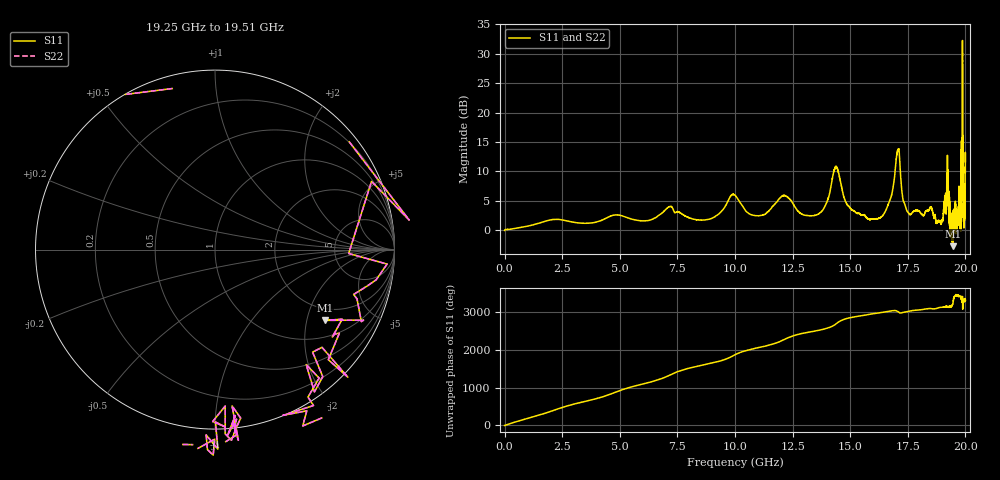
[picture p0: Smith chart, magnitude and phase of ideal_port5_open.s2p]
! Created with skrf (http://scikit-rf.org).
# GHz S RI R 50.0
!freq ReS11 ImS11 ReS21 ImS21 ReS12 ImS12 ReS22 ImS22
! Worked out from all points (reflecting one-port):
!   10001 points, 1 MHz to 20 GHz, reference 50 ohm
!   lowest |S11| = -2.7 dB at 19.45 GHz (marker M1), VSWR 6.39, Z = 76.8 - j129 ohm
!   phase of S11 starts at 1 deg and turns +3329 deg over the sweep
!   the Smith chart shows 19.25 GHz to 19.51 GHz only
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0.001  0.9927 0.0132  0 0  0 0  0.9927 0.0132
1.524924  0.1926 -1.133  0 0  0 0  0.1926 -1.133
2.382881  -0.091 1.226  0 0  0 0  -0.091 1.226
3.334833  -0.2813 -1.11  0 0  0 0  -0.2813 -1.11
6.668667  -0.8625 1.01  0 0  0 0  -0.8625 1.01
7.19864  -0.216 -1.576  0 0  0 0  -0.216 -1.576
8.052597  0.086 1.262  0 0  0 0  0.086 1.262
9.422529  0.2538 -1.429  0 0  0 0  0.2538 -1.429
10.0005  0.5495 1.908  0 0  0 0  0.5495 1.908
10.94445  -0.3475 -1.278  0 0  0 0  -0.3475 -1.278
11.73641  1.607 0.4641  0 0  0 0  1.607 0.4641
12.35438  -1.851 0.0854  0 0  0 0  -1.851 0.0854
13.33433  1.115 -0.7105  0 0  0 0  1.115 -0.7105
13.9923  0.9919 1.433  0 0  0 0  0.9919 1.433
14.39428  -3.437 0.2271  0 0  0 0  -3.437 0.2271
14.57627  -0.8139 -2.46  0 0  0 0  -0.8139 -2.46
15.00625  1.425 -0.5682  0 0  0 0  1.425 -0.5682
16.66817  -1.425 0.8956  0 0  0 0  -1.425 0.8956
17.13414  -1.668 4.193  0 0  0 0  -1.668 4.193
18.38408  -1.186 -0.8516  0 0  0 0  -1.186 -0.8516
19.44803  0.6134 -0.3942  0 0  0 0  0.6134 -0.3942
20  0.031 3.826  0 0  0 0  0.031 3.826
